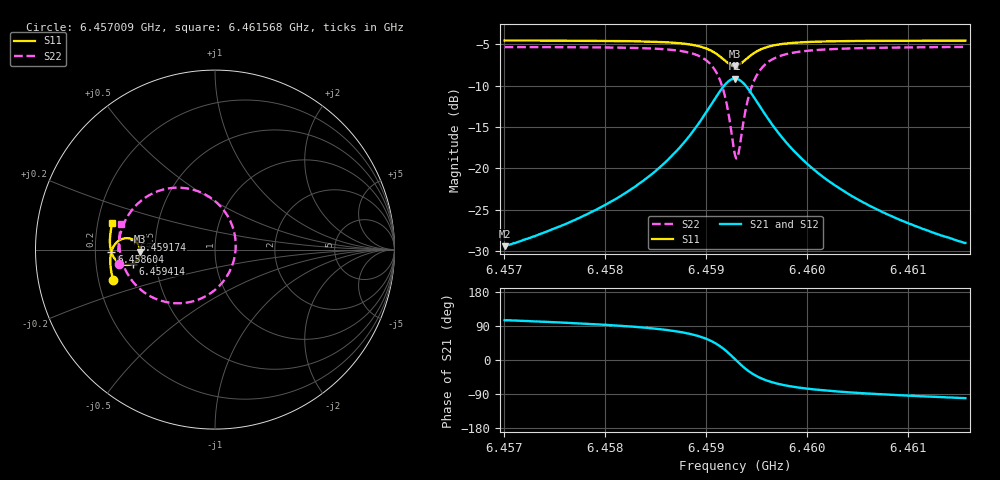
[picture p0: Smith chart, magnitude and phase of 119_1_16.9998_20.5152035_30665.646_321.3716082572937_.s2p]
#  HZ  S  RI  R  50.00
! Rohde & Schwarz Vector Network Analyzer
! Rohde-Schwarz,ZNB20-2Port,1311601062101988,3.16
! Created: UTC 3/20/2024, 10:57:21 PM
! freq[Hz]  re:S11  im:S11  re:S21  im:S21  re:S12  im:S12  re:S22  im:S22
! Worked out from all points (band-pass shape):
!   401 points, 6.457009 GHz to 6.461568 GHz, reference 50 ohm
!   highest |S21| = -9.16 dB at 6.459288 GHz (marker M1); lowest = -29.4 dB at 6.457009 GHz (marker M2)
!   |S21| within 3 dB of the highest: 6.45906 GHz to 6.459516 GHz (455.5 kHz wide, 0.00705 % of centre)
!   lowest |S11| = -7.6 dB at 6.459288 GHz (marker M3), VSWR 2.42, Z = 20.6 - j0.557 ohm
!   |S11| at or under -10 dB: nowhere
!   |S22| runs from -18.8 to -5.3 dB; largest |S21 - S12| = 0.014
!   S11 on the Smith chart (normalised r, x): 6.457009 GHz: 0.26, -0.14; 6.458604 GHz: 0.27, -0.01; 6.459174 GHz: 0.38, +0.05; 6.459414 GHz: 0.37, -0.07; 6.461568 GHz: 0.26, +0.12
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6.4570086e9  -0.5667 -0.1711  -0.0089 0.0328  -0.00708 0.0327  -0.5337 -0.0815
6.4577723e9  -0.5806 -0.1041  -0.0054 0.0508  -0.00286 0.0502  -0.5384 0.00825
6.4581826e9  -0.5834 -0.0629  0.000198 0.0698  0.00357 0.0684  -0.5303 0.0734
6.4585359e9  -0.5795 -0.0205  0.0145 0.0996  0.0186 0.0968  -0.5041 0.1533
6.4586043e9  -0.5771 -0.011  0.0201 0.1078  0.0241 0.1048  -0.4939 0.1734
6.4587981e9  -0.5645 0.0195  0.0467 0.1392  0.0509 0.1342  -0.4435 0.2425
6.4589463e9  -0.5416 0.0459  0.0926 0.1698  0.0957 0.1631  -0.3593 0.3071
6.459083e9  -0.4971 0.0634  0.1805 0.1863  0.1815 0.179  -0.1986 0.3452
6.4591742e9  -0.4521 0.0529  0.2714 0.1545  0.2715 0.1486  -0.0311 0.2932
6.4592426e9  -0.4228 0.0202  0.3321 0.0816  0.3342 0.0764  0.0842 0.1618
6.4592882e9  -0.4159 -0.0112  0.3483 0.0131  0.3519 0.00616  0.1155 0.0337
6.4592996e9  -0.4163 -0.0194  0.3478 -0.00484  0.3518 -0.0125  0.1149 -0.000133
6.4593224e9  -0.4199 -0.0351  0.342 -0.0399  0.346 -0.0488  0.1032 -0.0663
6.459368e9  -0.4358 -0.0615  0.313 -0.1001  0.3151 -0.112  0.0441 -0.1796
6.4594136e9  -0.4581 -0.0779  0.2703 -0.1411  0.2695 -0.1544  -0.0419 -0.254
6.4595048e9  -0.5019 -0.0849  0.185 -0.172  0.1788 -0.1836  -0.2116 -0.2991
6.4596529e9  -0.546 -0.0644  0.0967 -0.1578  0.0882 -0.164  -0.3794 -0.2486
6.4598125e9  -0.5679 -0.0367  0.0517 -0.1296  0.0439 -0.1324  -0.4598 -0.176
6.4600519e9  -0.5807 -0.00118  0.0223 -0.098  0.0165 -0.0984  -0.5077 -0.0933
6.4604166e9  -0.5854 0.0421  0.00575 -0.0696  0.00174 -0.0691  -0.5297 -0.00973
6.4608155e9  -0.5838 0.0822  -0.00132 -0.0521  -0.00428 -0.0514  -0.5332 0.054
6.4615678e9  -0.5719 0.149  -0.00653 -0.0349  -0.00822 -0.0338  -0.5218 0.1432
